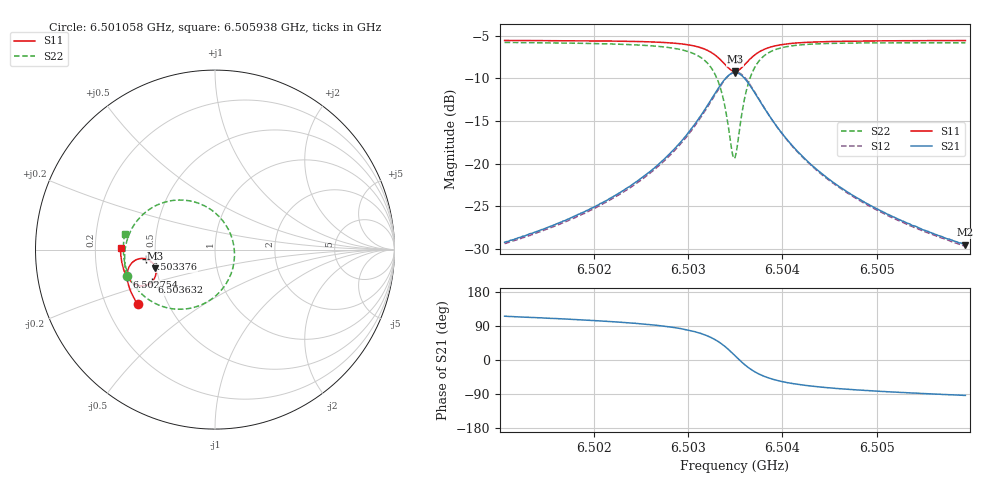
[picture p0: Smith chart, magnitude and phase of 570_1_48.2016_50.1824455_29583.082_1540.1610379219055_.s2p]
#  HZ  S  RI  R  50.00
! Rohde & Schwarz Vector Network Analyzer
! Rohde-Schwarz,ZNB20-2Port,1311601062101988,3.16
! Created: UTC 3/20/2024, 12:01:38 PM
! freq[Hz]  re:S11  im:S11  re:S21  im:S21  re:S12  im:S12  re:S22  im:S22
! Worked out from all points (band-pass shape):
!   401 points, 6.501058 GHz to 6.505938 GHz, reference 50 ohm
!   highest |S21| = -9.33 dB at 6.503498 GHz (marker M1); lowest = -29.5 dB at 6.505938 GHz (marker M2)
!   |S21| within 3 dB of the highest: 6.503255 GHz to 6.503742 GHz (487.8 kHz wide, 0.0075 % of centre)
!   lowest |S11| = -9.2 dB at 6.503498 GHz (marker M3), VSWR 2.06, Z = 24.6 - j5.76 ohm
!   |S11| at or under -10 dB: nowhere
!   |S22| runs from -19.4 to -5.8 dB; largest |S21 - S12| = 0.012
!   S11 on the Smith chart (normalised r, x): 6.501058 GHz: 0.34, -0.28; 6.502754 GHz: 0.33, -0.13; 6.503376 GHz: 0.44, -0.05; 6.503632 GHz: 0.45, -0.19; 6.505938 GHz: 0.31, +0.01
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6.5010578e9  -0.4311 -0.3033  -0.0149 0.0312  -0.0132 0.0313  -0.4922 -0.1461
6.5018753e9  -0.4655 -0.2419  -0.014 0.0494  -0.0116 0.0489  -0.5039 -0.0576
6.5023023e9  -0.4803 -0.2035  -0.0112 0.068  -0.00823 0.0669  -0.5004 0.00421
6.5026927e9  -0.4892 -0.1595  -0.00131 0.0996  0.00211 0.0972  -0.4789 0.084
6.5027537e9  -0.4897 -0.1513  0.00182 0.1068  0.00546 0.1043  -0.4719 0.1002
6.5029734e9  -0.4859 -0.1163  0.024 0.1425  0.0276 0.1381  -0.4253 0.1712
6.503132e9  -0.4712 -0.0839  0.0637 0.1786  0.0664 0.173  -0.3485 0.235
6.5032784e9  -0.4332 -0.0541  0.1458 0.2076  0.1463 0.2017  -0.1989 0.2763
6.5033272e9  -0.4118 -0.0492  0.1886 0.2064  0.1886 0.2009  -0.1238 0.2679
6.503376e9  -0.3863 -0.0513  0.2379 0.1913  0.238 0.1868  -0.0397 0.2336
6.5034614e9  -0.3429 -0.0805  0.317 0.1161  0.3196 0.1125  0.0868 0.0861
6.503498e9  -0.3318 -0.1028  0.3348 0.0671  0.3387 0.0621  0.108 -0.00624
6.5035224e9  -0.3287 -0.1192  0.3384 0.0323  0.3427 0.0259  0.1057 -0.0702
6.503559e9  -0.3308 -0.1436  0.3311 -0.0185  0.3349 -0.027  0.0785 -0.16
6.5036322e9  -0.3532 -0.1812  0.2841 -0.0958  0.2844 -0.107  -0.0324 -0.2846
6.5037298e9  -0.3946 -0.2011  0.2051 -0.1396  0.2006 -0.1496  -0.193 -0.3322
6.5038884e9  -0.4442 -0.1937  0.1163 -0.1389  0.1093 -0.1444  -0.3546 -0.2883
6.5040592e9  -0.4736 -0.1724  0.0681 -0.1178  0.0617 -0.1205  -0.4333 -0.2205
6.5043155e9  -0.496 -0.1409  0.0347 -0.0909  0.03 -0.0916  -0.4812 -0.1422
6.5046693e9  -0.5114 -0.1032  0.0158 -0.0674  0.0124 -0.0671  -0.5038 -0.0687
6.5051329e9  -0.5213 -0.0597  0.00521 -0.0497  0.00287 -0.0489  -0.5106 -0.000837
6.5059382e9  -0.5264 0.00911  -0.00201 -0.0333  -0.00332 -0.0326  -0.5034 0.0861
